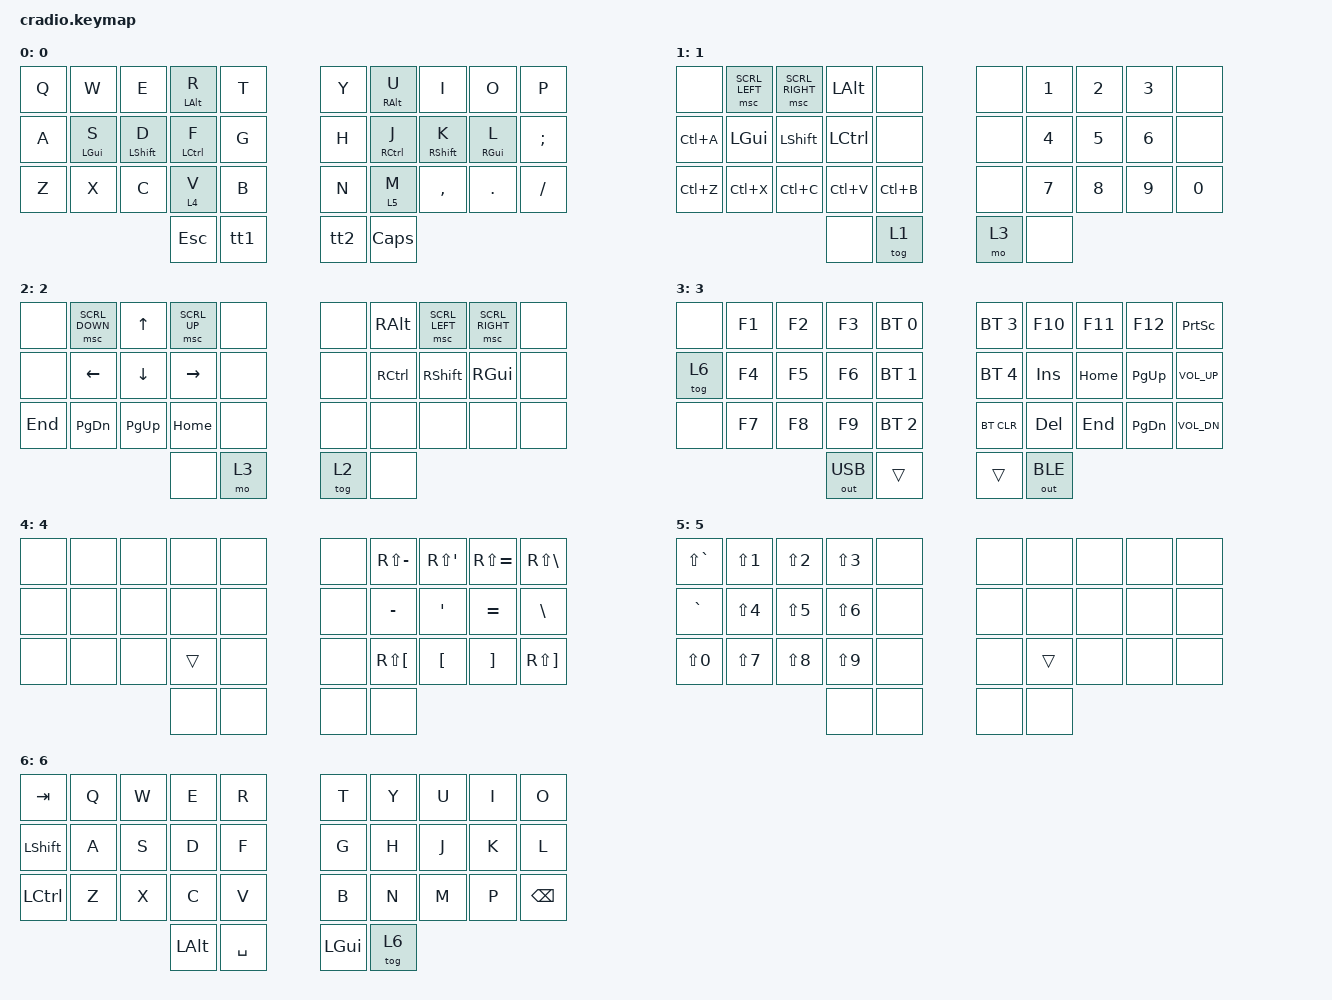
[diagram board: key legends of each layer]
/*
 * Copyright (c) 2020 The ZMK Contributors
 *
 * SPDX-License-Identifier: MIT
 */

#define ZMK_POINTING_DEFAULT_SCRL_VAL 10

#include <behaviors.dtsi>
#include <dt-bindings/zmk/keys.h>
#include <dt-bindings/zmk/bt.h>
#include <dt-bindings/zmk/pointing.h>
#include <dt-bindings/zmk/outputs.h>

/ {
    combos {
        compatible = "zmk,combos";
        combo_spc {
            timeout-ms = <75>;
            key-positions = <1 2>;
            bindings = <&kp SPACE>;
            layers = <0>;
        };
        combo_tab {
            timeout-ms = <75>;
            key-positions = <21 22>;
            bindings = <&kp TAB>;
            layers = <0>;
        };
        combo_bspc {
            timeout-ms = <75>;
            key-positions = <7 8>;
            bindings = <&kp BSPC>;
            layers = <0>;
        };
        combo_ent {
            timeout-ms = <75>;
            key-positions = <27 28>;
            bindings = <&kp ENTER>;
            layers = <0>;
        };
    };

    behaviors {
        lmt: left_mod_tap {
            display-name = "Left-Mod-Tap";
            compatible = "zmk,behavior-hold-tap";
            #binding-cells = <2>;
            bindings = <&kp>, <&kp>;
            flavor = "balanced";
            hold-trigger-on-release;
            hold-trigger-key-positions = <5 6 7 8 9 15 16 17 18 19 25 26 27 28 29 32 33>;
            require-prior-idle-ms = <0>;
            tapping-term-ms = <280>;
            quick-tap-ms = <175>;
        };
        rmt: right_mod_tap {
            display-name = "Right-Mod-Tap";
            compatible = "zmk,behavior-hold-tap";
            #binding-cells = <2>;
            bindings = <&kp>, <&kp>;
            flavor = "balanced";
            hold-trigger-on-release;
            hold-trigger-key-positions = <0 1 2 3 4 10 11 12 13 14 20 21 22 23 24 30 31>;
            require-prior-idle-ms = <0>;
            tapping-term-ms = <280>;
            quick-tap-ms = <175>;
        };

        llt: left_layer_tap {
            display-name = "Left-Layer-Tap";
            compatible = "zmk,behavior-hold-tap";
            #binding-cells = <2>;
            bindings = <&mo>, <&kp>;
            flavor = "balanced";
            hold-trigger-on-release;
            hold-trigger-key-positions = <5 6 7 8 9 15 16 17 18 19 25 26 27 28 29 32 33>;
            require-prior-idle-ms = <0>;
            tapping-term-ms = <280>;
            quick-tap-ms = <175>;
        };
        rlt: right_layer_tap {
            display-name = "Right-Layer-Tap";
            compatible = "zmk,behavior-hold-tap";
            #binding-cells = <2>;
            bindings = <&mo>, <&kp>;
            flavor = "balanced";
            hold-trigger-on-release;
            hold-trigger-key-positions = <0 1 2 3 4 10 11 12 13 14 20 21 22 23 24 30 31>;
            require-prior-idle-ms = <0>;
            tapping-term-ms = <280>;
            quick-tap-ms = <175>;
        };

        tt1: tap_toggle_layer_1 {
            display-name = "Tap-Toggle-Layer-1";
            compatible = "zmk,behavior-tap-dance";
            #binding-cells = <0>;
            bindings = <&mo 1>, <&tog 1>;
            tapping-term-ms = <280>;
        };
        tt2: tap_toggle_layer_2 {
            display-name = "Tap-Toggle-Layer-2";
            compatible = "zmk,behavior-tap-dance";
            #binding-cells = <0>;
            bindings = <&mo 2>, <&tog 2>;
            tapping-term-ms = <280>;
        };
    };

    keymap {
        compatible = "zmk,keymap";
           0 {
            bindings = <
                &kp Q  &kp W        &kp E         &lmt LALT R   &kp T          &kp Y   &rmt RALT U   &kp I         &kp O        &kp P
                &kp A  &lmt LGUI S  &lmt LSHFT D  &lmt LCTRL F  &kp G          &kp H   &rmt RCTRL J  &rmt RSHFT K  &rmt RGUI L  &kp SEMI
                &kp Z  &kp X        &kp C         &llt 4 V      &kp B          &kp N   &rlt 5 M      &kp COMMA     &kp DOT      &kp SLASH
                                                    &kp ESC      &tt1          &tt2    &kp CAPS
            >;
        };
        1 {
            bindings = <
                &none      &msc SCRL_LEFT  &msc SCRL_RIGHT  &kp LALT   &none              &none  &kp N1  &kp N2  &kp N3  &none
                &kp LC(A)  &kp LGUI        &kp LSHFT        &kp LCTRL  &none              &none  &kp N4  &kp N5  &kp N6  &none
                &kp LC(Z)  &kp LC(X)       &kp LC(C)        &kp LC(V)  &kp LC(B)          &none  &kp N7  &kp N8  &kp N9  &kp N0
                                                               &none      &tog 1          &mo 3      &none
            >;
        };
        2 {
            bindings = <
                &none    &msc SCRL_DOWN  &kp UP     &msc SCRL_UP  &none          &none   &kp RALT   &msc SCRL_LEFT  &msc SCRL_RIGHT  &none
                &none    &kp LEFT        &kp DOWN   &kp RIGHT     &none          &none   &kp RCTRL  &kp RSHFT       &kp RGUI         &none
                &kp END  &kp PG_DN       &kp PG_UP  &kp HOME      &none          &none   &none      &none           &none            &none
                                                       &none      &mo 3          &tog 2      &none
            >;
        };
        3 {
            bindings = <
                &none   &kp F1  &kp F2  &kp F3  &bt BT_SEL 0          &bt BT_SEL 3  &kp F10  &kp F11   &kp F12    &kp PSCRN
                &tog 6  &kp F4  &kp F5  &kp F6  &bt BT_SEL 1          &bt BT_SEL 4  &kp INS  &kp HOME  &kp PG_UP  &kp K_VOL_UP
                &none   &kp F7  &kp F8  &kp F9  &bt BT_SEL 2          &bt BT_CLR    &kp DEL  &kp END   &kp PG_DN  &kp K_VOL_DN
                                    &out OUT_USB      &trans          &trans      &out OUT_BLE
            >;
        };
        4 {
            bindings = <
                &none  &none  &none  &none   &none          &none  &kp RS(MINUS)  &kp RS(SQT)  &kp RS(EQUAL)  &kp RS(BSLH)
                &none  &none  &none  &none   &none          &none  &kp MINUS      &kp SQT      &kp EQUAL      &kp BSLH
                &none  &none  &none  &trans  &none          &none  &kp RS(LBKT)   &kp LBKT     &kp RBKT       &kp RS(RBKT)
                                  &none      &none          &none      &none
            >;
        };
        5 {
            bindings = <
                &kp LS(GRAVE)  &kp LS(N1)  &kp LS(N2)  &kp LS(N3)  &none          &none  &none   &none  &none  &none
                &kp GRAVE      &kp LS(N4)  &kp LS(N5)  &kp LS(N6)  &none          &none  &none   &none  &none  &none
                &kp LS(N0)     &kp LS(N7)  &kp LS(N8)  &kp LS(N9)  &none          &none  &trans  &none  &none  &none
                                                        &none      &none          &none      &none
            >;
        };
        6 {
            bindings = <
                &kp TAB    &kp Q  &kp W  &kp E  &kp R          &kp T  &kp Y  &kp U  &kp I  &kp O
                &kp LSHFT  &kp A  &kp S  &kp D  &kp F          &kp G  &kp H  &kp J  &kp K  &kp L
                &kp LCTRL  &kp Z  &kp X  &kp C  &kp V          &kp B  &kp N  &kp M  &kp P  &kp BSPC
                              &kp LALT      &kp SPACE          &kp LGUI      &tog 6
            >;
        };
    };
};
